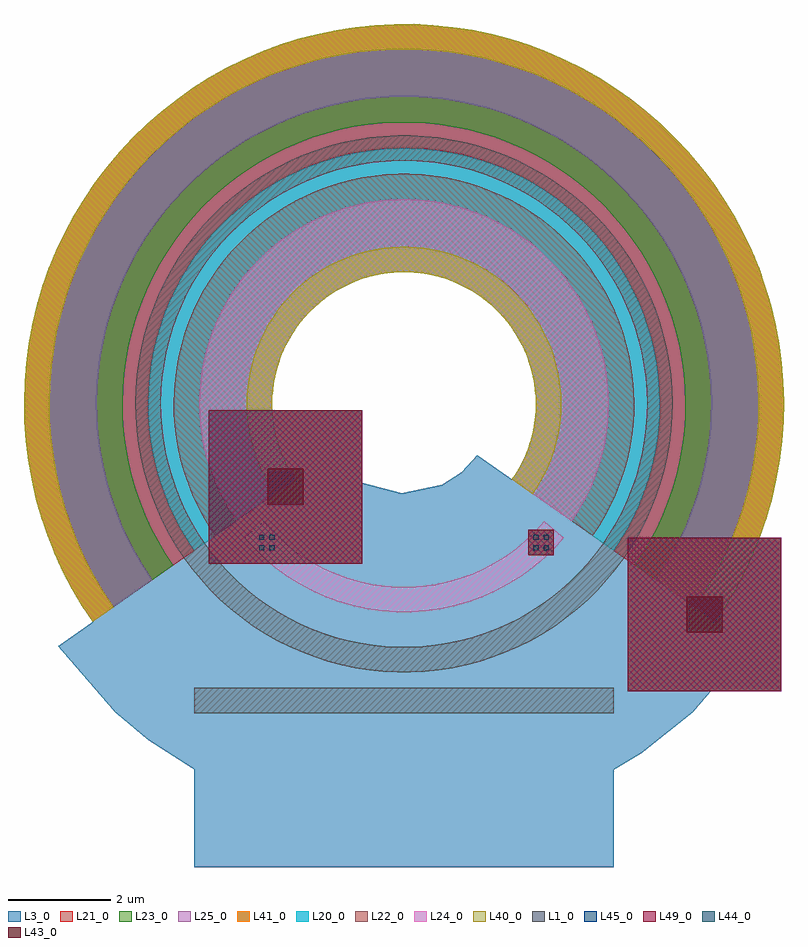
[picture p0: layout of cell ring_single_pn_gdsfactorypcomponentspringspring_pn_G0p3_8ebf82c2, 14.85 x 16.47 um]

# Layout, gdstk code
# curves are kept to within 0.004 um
import gdstk
lib = gdstk.Library(unit=1e-6, precision=1e-09)
def R(c, l, rs):  # rectangles x0, y0, x1, y1
    for r in rs: c.add(gdstk.rectangle(r[:2], r[2:], *l))
def P(c, l, *ps):  # polygons
    for p in ps: c.add(gdstk.Polygon(p, *l))
L1_0 = (1, 0)
L3_0 = (3, 0)
L20_0 = (20, 0)
L21_0 = (21, 0)
L22_0 = (22, 0)
L23_0 = (23, 0)
L24_0 = (24, 0)
L25_0 = (25, 0)
L40_0 = (40, 0)
L41_0 = (41, 0)
L43_0 = (43, 0)
L44_0 = (44, 0)
L45_0 = (45, 0)
L49_0 = (49, 0)

ring_single_pn_gdsfactor = lib.new_cell('ring_single_pn_gdsfactorypcomponentspringspring_pn_G0p3_8ebf82c2')
R(ring_single_pn_gdsfactor, L1_0, [(-4.096,-5.474,4.096,-4.974)])
P(ring_single_pn_gdsfactor, L1_0, [(-3.891,-2.148),(-4.026,-1.945),(-4.15,-1.735),(-4.263,-1.519),(-4.364,-1.298),(-4.455,-1.071),(-4.533,-0.84),(-4.601,-0.607),(-4.655,-0.369),(-4.697,-0.129),(-4.728,0.114),(-4.745,0.357),(-4.75,0.6),(-4.743,0.844),(-4.722,1.087),(-4.69,1.329),(-4.645,1.568),(-4.588,1.806),(-4.519,2.04),(-4.438,2.269),(-4.345,2.495),(-4.241,2.715),(-4.126,2.93),(-3.999,3.139),(-3.863,3.34),(-3.716,3.535),(-3.559,3.722),(-3.393,3.9),(-3.218,4.07),(-3.035,4.23),(-2.843,4.382),(-2.644,4.522),(-2.438,4.653),(-2.225,4.772),(-2.007,4.881),(-1.784,4.978),(-1.556,5.064),(-1.323,5.138),(-1.088,5.199),(-0.849,5.249),(-0.608,5.287),(-0.365,5.312),(-0.122,5.325),(0.121,5.324),(0.366,5.312),(0.608,5.287),(0.849,5.249),(1.087,5.2),(1.324,5.138),(1.555,5.064),(1.784,4.978),(2.008,4.881),(2.226,4.772),(2.438,4.652),(2.644,4.522),(2.843,4.381),(3.035,4.231),(3.218,4.07),(3.393,3.9),(3.56,3.722),(3.716,3.535),(3.863,3.341),(4,3.138),(4.126,2.93),(4.241,2.715),(4.346,2.494),(4.438,2.268),(4.519,2.04),(4.588,1.805),(4.645,1.569),(4.689,1.329),(4.722,1.087),(4.742,0.843),(4.75,0.601),(4.745,0.357),(4.727,0.114),(4.697,-0.128),(4.655,-0.369),(4.6,-0.606),(4.534,-0.841),(4.455,-1.072),(4.365,-1.297),(4.263,-1.519),(4.149,-1.735),(4.025,-1.945),(3.892,-2.149),(4.301,-2.435),(4.449,-2.211),(4.586,-1.978),(4.712,-1.74),(4.825,-1.495),(4.924,-1.245),(5.011,-0.99),(5.085,-0.731),(5.145,-0.468),(5.192,-0.203),(5.225,0.065),(5.245,0.333),(5.25,0.603),(5.242,0.872),(5.22,1.141),(5.183,1.408),(5.134,1.673),(5.071,1.934),(4.995,2.193),(4.906,2.447),(4.803,2.697),(4.688,2.94),(4.56,3.178),(4.421,3.408),(4.27,3.632),(4.107,3.846),(3.934,4.053),(3.75,4.25),(3.557,4.438),(3.354,4.615),(3.142,4.782),(2.922,4.938),(2.695,5.082),(2.46,5.214),(2.219,5.334),(1.972,5.442),(1.72,5.537),(1.463,5.618),(1.202,5.687),(0.938,5.741),(0.672,5.783),(0.404,5.81),(0.135,5.825),(-0.134,5.824),(-0.404,5.811),(-0.672,5.783),(-0.939,5.742),(-1.202,5.687),(-1.462,5.618),(-1.719,5.537),(-1.972,5.442),(-2.218,5.334),(-2.46,5.214),(-2.695,5.082),(-2.922,4.938),(-3.143,4.782),(-3.354,4.615),(-3.557,4.437),(-3.751,4.25),(-3.933,4.053),(-4.108,3.846),(-4.27,3.632),(-4.421,3.408),(-4.56,3.178),(-4.688,2.94),(-4.803,2.697),(-4.905,2.447),(-4.995,2.193),(-5.072,1.935),(-5.134,1.672),(-5.184,1.408),(-5.22,1.141),(-5.242,0.872),(-5.25,0.603),(-5.244,0.333),(-5.225,0.065),(-5.192,-0.203),(-5.146,-0.468),(-5.085,-0.731),(-5.011,-0.99),(-4.924,-1.245),(-4.824,-1.496),(-4.711,-1.74),(-4.586,-1.979),(-4.449,-2.211),(-4.301,-2.435)],
  [(-4.301,-2.435),(-4.139,-2.654),(-3.966,-2.865),(-3.782,-3.066),(-3.587,-3.257),(-3.384,-3.438),(-3.172,-3.608),(-2.951,-3.767),(-2.721,-3.914),(-2.484,-4.049),(-2.241,-4.172),(-1.992,-4.282),(-1.737,-4.379),(-1.478,-4.462),(-1.215,-4.532),(-0.949,-4.588),(-0.679,-4.63),(-0.409,-4.658),(-0.136,-4.672),(0.136,-4.672),(0.408,-4.659),(0.679,-4.63),(0.948,-4.588),(1.215,-4.532),(1.478,-4.461),(1.737,-4.379),(1.993,-4.282),(2.242,-4.172),(2.484,-4.05),(2.722,-3.914),(2.951,-3.767),(3.171,-3.608),(3.384,-3.438),(3.588,-3.258),(3.782,-3.066),(3.966,-2.865),(4.138,-2.655),(4.301,-2.435),(3.892,-2.149),(3.745,-2.347),(3.588,-2.537),(3.421,-2.718),(3.246,-2.891),(3.062,-3.056),(2.869,-3.21),(2.669,-3.353),(2.462,-3.486),(2.248,-3.609),(2.028,-3.72),(1.803,-3.819),(1.572,-3.906),(1.337,-3.982),(1.099,-4.045),(0.858,-4.096),(0.615,-4.134),(0.369,-4.16),(0.123,-4.172),(-0.123,-4.172),(-0.37,-4.159),(-0.614,-4.134),(-0.857,-4.096),(-1.099,-4.045),(-1.337,-3.982),(-1.572,-3.906),(-1.802,-3.819),(-2.028,-3.72),(-2.248,-3.608),(-2.462,-3.487),(-2.669,-3.353),(-2.87,-3.21),(-3.062,-3.056),(-3.246,-2.892),(-3.421,-2.718),(-3.587,-2.537),(-3.745,-2.347),(-3.891,-2.148)])
R(ring_single_pn_gdsfactor, L3_0, [(-4.096,-8.474,4.096,-1.974), (4.377,-5.039,7.377,-2.039), (-3.814,-2.544,-0.814,0.456)])
P(ring_single_pn_gdsfactor, L3_0, [(-2.109,-0.901),(-2.182,-0.791),(-2.31,-0.56),(-2.414,-0.317),(-2.457,-0.192),(-2.523,0.064),(-2.562,0.325),(-2.572,0.457),(-2.57,0.721),(-2.56,0.853),(-2.517,1.113),(-2.487,1.242),(-2.405,1.493),(-2.299,1.735),(-2.236,1.851),(-2.168,1.965),(-2.014,2.18),(-1.929,2.281),(-1.744,2.469),(-1.645,2.557),(-1.433,2.715),(-1.321,2.786),(-1.088,2.909),(-0.967,2.962),(-0.717,3.049),(-0.46,3.109),(-0.33,3.129),(-0.066,3.15),(0.066,3.149),(0.198,3.143),(0.46,3.109),(0.717,3.049),(0.843,3.009),(1.088,2.909),(1.321,2.785),(1.541,2.639),(1.744,2.47),(1.839,2.378),(2.014,2.179),(2.168,1.964),(2.299,1.735),(2.355,1.616),(2.449,1.369),(2.518,1.114),(2.542,0.984),(2.57,0.722),(2.571,0.457),(2.562,0.325),(2.545,0.194),(2.523,0.064),(2.493,-0.065),(2.457,-0.192),(2.366,-0.44),(2.249,-0.676),(2.11,-0.901),(6.082,-3.683),(6.293,-3.365),(6.488,-3.037),(6.664,-2.7),(6.824,-2.354),(6.965,-2),(7.088,-1.639),(7.192,-1.272),(7.277,-0.901),(7.344,-0.525),(7.39,-0.147),(7.418,0.233),(7.426,0.614),(7.414,0.995),(7.383,1.375),(7.332,1.752),(7.261,2.127),(7.173,2.498),(7.064,2.864),(6.938,3.223),(6.793,3.576),(6.63,3.92),(6.45,4.256),(6.253,4.582),(6.039,4.897),(5.809,5.202),(5.564,5.493),(5.305,5.772),(5.031,6.038),(4.744,6.289),(4.444,6.525),(4.133,6.745),(3.812,6.949),(3.48,7.136),(3.138,7.306),(2.789,7.458),(2.433,7.592),(2.069,7.707),(1.7,7.805),(1.327,7.883),(0.95,7.941),(0.572,7.98),(0.19,8),(-0.19,7.999),(-0.571,7.98),(-0.95,7.941),(-1.327,7.882),(-1.7,7.804),(-2.069,7.708),(-2.432,7.592),(-2.789,7.458),(-3.139,7.306),(-3.479,7.137),(-3.812,6.949),(-4.134,6.745),(-4.445,6.524),(-4.744,6.289),(-5.031,6.038),(-5.304,5.773),(-5.564,5.494),(-5.809,5.202),(-6.039,4.898),(-6.253,4.582),(-6.45,4.256),(-6.63,3.92),(-6.793,3.575),(-6.938,3.223),(-7.065,2.864),(-7.172,2.498),(-7.262,2.127),(-7.332,1.752),(-7.382,1.375),(-7.414,0.995),(-7.426,0.614),(-7.418,0.233),(-7.391,-0.147),(-7.343,-0.525),(-7.277,-0.9),(-7.192,-1.273),(-7.087,-1.639),(-6.965,-2),(-6.824,-2.354),(-6.664,-2.7),(-6.488,-3.038),(-6.293,-3.366),(-6.082,-3.683)],
  [(-6.758,-4.156),(-5.639,-5.448),(-4.984,-6),(-3.905,-6.693),(-3.13,-7.058),(-1.909,-7.451),(-0.642,-7.65),(0.214,-7.672),(1.491,-7.54),(2.323,-7.341),(3.904,-6.693),(4.636,-6.249),(5.639,-5.448),(6.758,-4.155),(1.434,-0.427),(1.128,-0.761),(0.746,-1.006),(-0.045,-1.172),(-0.828,-0.965),(-1.434,-0.428)])
P(ring_single_pn_gdsfactor, L20_0, [(-2.109,-0.901),(-2.182,-0.791),(-2.31,-0.56),(-2.414,-0.317),(-2.457,-0.192),(-2.523,0.064),(-2.562,0.325),(-2.572,0.457),(-2.574,0.589),(-2.56,0.853),(-2.542,0.984),(-2.487,1.242),(-2.449,1.369),(-2.355,1.615),(-2.299,1.735),(-2.168,1.965),(-2.014,2.18),(-1.929,2.281),(-1.839,2.377),(-1.645,2.557),(-1.433,2.715),(-1.321,2.786),(-1.207,2.85),(-0.967,2.962),(-0.717,3.049),(-0.589,3.082),(-0.46,3.109),(-0.198,3.143),(-0.066,3.15),(0.198,3.143),(0.46,3.109),(0.589,3.082),(0.843,3.009),(1.088,2.909),(1.206,2.85),(1.321,2.785),(1.541,2.639),(1.744,2.47),(1.929,2.281),(2.094,2.074),(2.168,1.964),(2.299,1.735),(2.405,1.493),(2.486,1.243),(2.518,1.114),(2.542,0.984),(2.57,0.722),(2.574,0.589),(2.562,0.325),(2.523,0.064),(2.457,-0.192),(2.415,-0.316),(2.366,-0.44),(2.31,-0.559),(2.182,-0.791),(2.11,-0.901),(4.095,-2.292),(4.238,-2.078),(4.368,-1.856),(4.488,-1.63),(4.594,-1.397),(4.69,-1.158),(4.772,-0.915),(4.843,-0.668),(4.9,-0.418),(4.945,-0.166),(4.976,0.089),(4.995,0.345),(5,0.601),(4.992,0.858),(4.972,1.114),(4.937,1.368),(4.89,1.621),(4.829,1.87),(4.757,2.116),(4.672,2.358),(4.574,2.596),(4.464,2.828),(4.343,3.054),(4.21,3.274),(4.067,3.486),(3.912,3.691),(3.747,3.887),(3.572,4.076),(3.387,4.254),(3.194,4.423),(2.993,4.582),(2.783,4.729),(2.567,4.867),(2.343,4.994),(2.113,5.107),(1.878,5.21),(1.637,5.3),(1.392,5.378),(1.145,5.443),(0.894,5.495),(0.64,5.535),(0.384,5.561),(0.128,5.574),(-0.128,5.574),(-0.385,5.561),(-0.64,5.535),(-0.893,5.495),(-1.145,5.444),(-1.393,5.378),(-1.638,5.3),(-1.878,5.21),(-2.113,5.107),(-2.343,4.993),(-2.566,4.867),(-2.783,4.73),(-2.993,4.582),(-3.194,4.423),(-3.387,4.254),(-3.572,4.075),(-3.747,3.887),(-3.912,3.691),(-4.066,3.486),(-4.21,3.273),(-4.343,3.054),(-4.464,2.828),(-4.574,2.596),(-4.671,2.358),(-4.757,2.116),(-4.83,1.87),(-4.889,1.62),(-4.937,1.368),(-4.971,1.114),(-4.991,0.858),(-5,0.602),(-4.995,0.345),(-4.976,0.089),(-4.945,-0.165),(-4.9,-0.418),(-4.843,-0.669),(-4.773,-0.915),(-4.689,-1.158),(-4.594,-1.397),(-4.487,-1.63),(-4.368,-1.858),(-4.237,-2.077),(-4.096,-2.292)])
P(ring_single_pn_gdsfactor, L21_0, [(-4.096,-2.292),(-4.237,-2.077),(-4.368,-1.858),(-4.487,-1.63),(-4.594,-1.397),(-4.689,-1.158),(-4.773,-0.915),(-4.843,-0.669),(-4.9,-0.418),(-4.945,-0.165),(-4.976,0.089),(-4.995,0.345),(-5,0.602),(-4.991,0.858),(-4.971,1.114),(-4.937,1.368),(-4.889,1.62),(-4.83,1.87),(-4.757,2.116),(-4.671,2.358),(-4.574,2.596),(-4.464,2.828),(-4.343,3.054),(-4.21,3.273),(-4.066,3.486),(-3.912,3.691),(-3.747,3.887),(-3.572,4.075),(-3.387,4.254),(-3.194,4.423),(-2.993,4.582),(-2.783,4.73),(-2.566,4.867),(-2.343,4.993),(-2.113,5.107),(-1.878,5.21),(-1.638,5.3),(-1.393,5.378),(-1.145,5.444),(-0.893,5.495),(-0.64,5.535),(-0.385,5.561),(-0.128,5.574),(0.128,5.574),(0.384,5.561),(0.64,5.535),(0.894,5.495),(1.145,5.443),(1.392,5.378),(1.637,5.3),(1.878,5.21),(2.113,5.107),(2.343,4.994),(2.567,4.867),(2.783,4.729),(2.993,4.582),(3.194,4.423),(3.387,4.254),(3.572,4.076),(3.747,3.887),(3.912,3.691),(4.067,3.486),(4.21,3.274),(4.343,3.054),(4.464,2.828),(4.574,2.596),(4.672,2.358),(4.757,2.116),(4.829,1.87),(4.89,1.621),(4.937,1.368),(4.972,1.114),(4.992,0.858),(5,0.601),(4.995,0.345),(4.976,0.089),(4.945,-0.166),(4.9,-0.418),(4.843,-0.668),(4.772,-0.915),(4.69,-1.158),(4.594,-1.397),(4.488,-1.63),(4.368,-1.856),(4.238,-2.078),(4.095,-2.292),(6.082,-3.683),(6.293,-3.365),(6.488,-3.037),(6.664,-2.7),(6.824,-2.354),(6.965,-2),(7.088,-1.639),(7.192,-1.272),(7.277,-0.901),(7.344,-0.525),(7.39,-0.147),(7.418,0.233),(7.426,0.614),(7.414,0.995),(7.383,1.375),(7.332,1.752),(7.261,2.127),(7.173,2.498),(7.064,2.864),(6.938,3.223),(6.793,3.576),(6.63,3.92),(6.45,4.256),(6.253,4.582),(6.039,4.897),(5.809,5.202),(5.564,5.493),(5.305,5.772),(5.031,6.038),(4.744,6.289),(4.444,6.525),(4.133,6.745),(3.812,6.949),(3.48,7.136),(3.138,7.306),(2.789,7.458),(2.433,7.592),(2.069,7.707),(1.7,7.805),(1.327,7.883),(0.95,7.941),(0.572,7.98),(0.19,8),(-0.19,7.999),(-0.571,7.98),(-0.95,7.941),(-1.327,7.882),(-1.7,7.804),(-2.069,7.708),(-2.432,7.592),(-2.789,7.458),(-3.139,7.306),(-3.479,7.137),(-3.812,6.949),(-4.134,6.745),(-4.445,6.524),(-4.744,6.289),(-5.031,6.038),(-5.304,5.773),(-5.564,5.494),(-5.809,5.202),(-6.039,4.898),(-6.253,4.582),(-6.45,4.256),(-6.63,3.92),(-6.793,3.575),(-6.938,3.223),(-7.065,2.864),(-7.172,2.498),(-7.262,2.127),(-7.332,1.752),(-7.382,1.375),(-7.414,0.995),(-7.426,0.614),(-7.418,0.233),(-7.391,-0.147),(-7.343,-0.525),(-7.277,-0.9),(-7.192,-1.273),(-7.087,-1.639),(-6.965,-2),(-6.824,-2.354),(-6.664,-2.7),(-6.488,-3.038),(-6.293,-3.366),(-6.082,-3.683)])
P(ring_single_pn_gdsfactor, L22_0, [(-2.109,-0.901),(-2.182,-0.791),(-2.31,-0.56),(-2.414,-0.317),(-2.457,-0.192),(-2.523,0.064),(-2.562,0.325),(-2.572,0.457),(-2.574,0.589),(-2.56,0.853),(-2.542,0.984),(-2.487,1.242),(-2.449,1.369),(-2.355,1.615),(-2.299,1.735),(-2.168,1.965),(-2.014,2.18),(-1.929,2.281),(-1.839,2.377),(-1.645,2.557),(-1.433,2.715),(-1.321,2.786),(-1.207,2.85),(-0.967,2.962),(-0.717,3.049),(-0.589,3.082),(-0.46,3.109),(-0.198,3.143),(-0.066,3.15),(0.198,3.143),(0.46,3.109),(0.717,3.049),(0.966,2.962),(1.206,2.85),(1.433,2.714),(1.541,2.639),(1.644,2.556),(1.839,2.378),(2.014,2.179),(2.168,1.964),(2.299,1.735),(2.355,1.616),(2.449,1.369),(2.518,1.114),(2.542,0.984),(2.57,0.722),(2.574,0.589),(2.562,0.325),(2.545,0.194),(2.523,0.064),(2.457,-0.192),(2.366,-0.44),(2.31,-0.559),(2.182,-0.791),(2.11,-0.901),(3.686,-2.005),(3.814,-1.813),(3.931,-1.613),(4.038,-1.409),(4.135,-1.199),(4.22,-0.985),(4.295,-0.766),(4.358,-0.544),(4.41,-0.319),(4.45,-0.092),(4.478,0.137),(4.495,0.369),(4.5,0.599),(4.493,0.83),(4.473,1.06),(4.442,1.289),(4.401,1.516),(4.346,1.74),(4.281,1.962),(4.205,2.18),(4.116,2.393),(4.018,2.602),(3.909,2.806),(3.789,3.003),(3.66,3.195),(3.52,3.379),(3.372,3.556),(3.214,3.725),(3.049,3.886),(2.874,4.038),(2.693,4.181),(2.505,4.315),(2.309,4.438),(2.108,4.551),(1.902,4.654),(1.69,4.746),(1.474,4.827),(1.254,4.898),(1.03,4.956),(0.804,5.003),(0.577,5.039),(0.346,5.063),(0.115,5.075),(-0.115,5.075),(-0.346,5.063),(-0.576,5.039),(-0.804,5.004),(-1.03,4.957),(-1.253,4.898),(-1.474,4.827),(-1.69,4.747),(-1.902,4.654),(-2.109,4.552),(-2.31,4.438),(-2.505,4.314),(-2.694,4.181),(-2.875,4.038),(-3.049,3.886),(-3.214,3.725),(-3.372,3.556),(-3.52,3.379),(-3.66,3.194),(-3.789,3.004),(-3.909,2.805),(-4.018,2.602),(-4.116,2.394),(-4.204,2.18),(-4.281,1.962),(-4.346,1.741),(-4.4,1.516),(-4.442,1.289),(-4.474,1.06),(-4.493,0.83),(-4.5,0.599),(-4.495,0.368),(-4.479,0.138),(-4.45,-0.091),(-4.41,-0.319),(-4.358,-0.544),(-4.295,-0.766),(-4.22,-0.985),(-4.134,-1.199),(-4.039,-1.409),(-3.931,-1.614),(-3.814,-1.812),(-3.686,-2.005)])
P(ring_single_pn_gdsfactor, L23_0, [(-4.505,-2.579),(-4.661,-2.344),(-4.805,-2.1),(-4.936,-1.85),(-5.054,-1.594),(-5.159,-1.332),(-5.249,-1.065),(-5.327,-0.793),(-5.391,-0.518),(-5.44,-0.24),(-5.474,0.041),(-5.494,0.322),(-5.5,0.604),(-5.491,0.887),(-5.468,1.168),(-5.431,1.447),(-5.379,1.725),(-5.312,1.999),(-5.233,2.27),(-5.139,2.537),(-5.031,2.798),(-4.911,3.053),(-4.777,3.302),(-4.631,3.543),(-4.473,3.777),(-4.302,4.002),(-4.122,4.219),(-3.929,4.425),(-3.726,4.621),(-3.514,4.808),(-3.292,4.983),(-3.062,5.145),(-2.823,5.296),(-2.577,5.435),(-2.325,5.561),(-2.065,5.673),(-1.801,5.773),(-1.532,5.859),(-1.26,5.93),(-0.983,5.988),(-0.704,6.031),(-0.423,6.06),(-0.141,6.074),(0.141,6.074),(0.423,6.06),(0.703,6.031),(0.983,5.987),(1.259,5.93),(1.532,5.858),(1.801,5.773),(2.066,5.674),(2.324,5.561),(2.577,5.435),(2.823,5.296),(3.062,5.146),(3.292,4.982),(3.513,4.807),(3.726,4.622),(3.929,4.425),(4.121,4.218),(4.303,4.003),(4.473,3.777),(4.632,3.543),(4.777,3.302),(4.911,3.052),(5.032,2.798),(5.139,2.536),(5.232,2.271),(5.312,1.999),(5.379,1.725),(5.43,1.447),(5.469,1.168),(5.491,0.887),(5.501,0.604),(5.494,0.322),(5.474,0.04),(5.439,-0.24),(5.39,-0.518),(5.328,-0.793),(5.249,-1.065),(5.159,-1.332),(5.053,-1.594),(4.936,-1.85),(4.805,-2.1),(4.661,-2.343),(4.505,-2.578),(6.082,-3.683),(6.293,-3.365),(6.488,-3.037),(6.664,-2.7),(6.824,-2.354),(6.965,-2),(7.088,-1.639),(7.192,-1.272),(7.277,-0.901),(7.344,-0.525),(7.39,-0.147),(7.418,0.233),(7.426,0.614),(7.414,0.995),(7.383,1.375),(7.332,1.752),(7.261,2.127),(7.173,2.498),(7.064,2.864),(6.938,3.223),(6.793,3.576),(6.63,3.92),(6.45,4.256),(6.253,4.582),(6.039,4.897),(5.809,5.202),(5.564,5.493),(5.305,5.772),(5.031,6.038),(4.744,6.289),(4.444,6.525),(4.133,6.745),(3.812,6.949),(3.48,7.136),(3.138,7.306),(2.789,7.458),(2.433,7.592),(2.069,7.707),(1.7,7.805),(1.327,7.883),(0.95,7.941),(0.572,7.98),(0.19,8),(-0.19,7.999),(-0.571,7.98),(-0.95,7.941),(-1.327,7.882),(-1.7,7.804),(-2.069,7.708),(-2.432,7.592),(-2.789,7.458),(-3.139,7.306),(-3.479,7.137),(-3.812,6.949),(-4.134,6.745),(-4.445,6.524),(-4.744,6.289),(-5.031,6.038),(-5.304,5.773),(-5.564,5.494),(-5.809,5.202),(-6.039,4.898),(-6.253,4.582),(-6.45,4.256),(-6.63,3.92),(-6.793,3.575),(-6.938,3.223),(-7.065,2.864),(-7.172,2.498),(-7.262,2.127),(-7.332,1.752),(-7.382,1.375),(-7.414,0.995),(-7.426,0.614),(-7.418,0.233),(-7.391,-0.147),(-7.343,-0.525),(-7.277,-0.9),(-7.192,-1.273),(-7.087,-1.639),(-6.965,-2),(-6.824,-2.354),(-6.664,-2.7),(-6.488,-3.038),(-6.293,-3.366),(-6.082,-3.683)])
P(ring_single_pn_gdsfactor, L24_0, [(-2.109,-0.901),(-2.182,-0.791),(-2.31,-0.56),(-2.414,-0.317),(-2.457,-0.192),(-2.523,0.064),(-2.562,0.325),(-2.572,0.457),(-2.574,0.589),(-2.56,0.853),(-2.542,0.984),(-2.487,1.242),(-2.449,1.369),(-2.355,1.615),(-2.299,1.735),(-2.168,1.965),(-2.014,2.18),(-1.929,2.281),(-1.839,2.377),(-1.645,2.557),(-1.433,2.715),(-1.321,2.786),(-1.088,2.909),(-0.967,2.962),(-0.717,3.049),(-0.46,3.109),(-0.198,3.143),(-0.066,3.15),(0.198,3.143),(0.329,3.129),(0.589,3.082),(0.843,3.009),(1.088,2.909),(1.321,2.785),(1.541,2.639),(1.744,2.47),(1.839,2.378),(2.014,2.179),(2.168,1.964),(2.299,1.735),(2.355,1.616),(2.449,1.369),(2.518,1.114),(2.542,0.984),(2.57,0.722),(2.574,0.589),(2.562,0.325),(2.545,0.194),(2.523,0.064),(2.457,-0.192),(2.366,-0.44),(2.31,-0.559),(2.182,-0.791),(2.11,-0.901),(3.277,-1.719),(3.39,-1.547),(3.494,-1.37),(3.589,-1.188),(3.676,-1.002),(3.751,-0.811),(3.818,-0.617),(3.873,-0.419),(3.92,-0.219),(3.956,-0.017),(3.996,0.391),(3.999,0.597),(3.994,0.802),(3.976,1.006),(3.949,1.209),(3.911,1.411),(3.863,1.611),(3.805,1.808),(3.737,2.001),(3.659,2.192),(3.571,2.377),(3.474,2.558),(3.367,2.734),(3.252,2.903),(3.129,3.067),(2.997,3.225),(2.857,3.375),(2.709,3.518),(2.555,3.653),(2.394,3.781),(2.227,3.899),(2.054,4.009),(1.874,4.109),(1.69,4.201),(1.502,4.283),(1.31,4.355),(1.115,4.417),(0.916,4.469),(0.715,4.512),(0.512,4.543),(0.307,4.563),(0.103,4.574),(-0.103,4.574),(-0.308,4.564),(-0.512,4.543),(-0.715,4.512),(-0.916,4.47),(-1.114,4.418),(-1.31,4.355),(-1.502,4.283),(-1.69,4.201),(-1.874,4.109),(-2.053,4.008),(-2.227,3.899),(-2.394,3.78),(-2.555,3.653),(-2.709,3.518),(-2.857,3.375),(-2.997,3.225),(-3.129,3.068),(-3.252,2.904),(-3.368,2.734),(-3.474,2.558),(-3.571,2.377),(-3.659,2.191),(-3.736,2.002),(-3.805,1.808),(-3.863,1.611),(-3.912,1.411),(-3.949,1.21),(-3.976,1.006),(-3.993,0.801),(-4,0.596),(-3.995,0.391),(-3.98,0.186),(-3.955,-0.017),(-3.92,-0.219),(-3.873,-0.42),(-3.818,-0.616),(-3.751,-0.812),(-3.676,-1.002),(-3.589,-1.188),(-3.495,-1.37),(-3.389,-1.547),(-3.277,-1.718)],
  [(-3.122,-2.043),(-2.931,-2.254),(-2.727,-2.452),(-2.509,-2.635),(-2.279,-2.802),(-2.037,-2.953),(-1.786,-3.087),(-1.527,-3.202),(-1.259,-3.3),(-0.986,-3.378),(-0.708,-3.437),(-0.426,-3.477),(-0.143,-3.496),(0.142,-3.497),(0.426,-3.477),(0.707,-3.437),(0.986,-3.378),(1.259,-3.3),(1.527,-3.202),(1.786,-3.087),(2.037,-2.953),(2.279,-2.803),(2.509,-2.635),(2.727,-2.453),(2.932,-2.255),(3.122,-2.043),(2.739,-1.722),(2.572,-1.907),(2.392,-2.081),(2.201,-2.241),(1.999,-2.388),(1.788,-2.52),(1.567,-2.637),(1.339,-2.739),(1.105,-2.824),(0.865,-2.893),(0.621,-2.944),(0.374,-2.979),(0.125,-2.997),(-0.124,-2.997),(-0.374,-2.979),(-0.62,-2.944),(-0.865,-2.892),(-1.105,-2.824),(-1.339,-2.738),(-1.567,-2.637),(-1.787,-2.52),(-1.999,-2.387),(-2.201,-2.241),(-2.392,-2.081),(-2.572,-1.907),(-2.739,-1.722)])
P(ring_single_pn_gdsfactor, L25_0, [(-4.915,-2.865),(-5.085,-2.609),(-5.242,-2.344),(-5.384,-2.071),(-5.513,-1.791),(-5.628,-1.505),(-5.727,-1.214),(-5.811,-0.917),(-5.88,-0.617),(-5.934,-0.313),(-5.972,-0.008),(-5.994,0.299),(-6,0.607),(-5.991,0.915),(-5.965,1.221),(-5.925,1.527),(-5.868,1.83),(-5.796,2.129),(-5.708,2.424),(-5.607,2.715),(-5.489,3),(-5.357,3.278),(-5.212,3.549),(-5.052,3.813),(-4.879,4.068),(-4.694,4.314),(-4.496,4.55),(-4.286,4.775),(-4.065,4.99),(-3.833,5.192),(-3.591,5.382),(-3.34,5.561),(-3.08,5.726),(-2.812,5.877),(-2.536,6.014),(-2.253,6.137),(-1.965,6.245),(-1.671,6.338),(-1.374,6.417),(-1.072,6.48),(-0.768,6.527),(-0.462,6.558),(-0.154,6.574),(0.154,6.574),(0.462,6.559),(0.768,6.527),(1.073,6.48),(1.374,6.417),(1.672,6.339),(1.965,6.246),(2.254,6.137),(2.536,6.014),(2.812,5.877),(3.08,5.726),(3.34,5.561),(3.591,5.383),(3.833,5.193),(4.065,4.99),(4.287,4.775),(4.496,4.549),(4.694,4.313),(4.879,4.068),(5.052,3.813),(5.212,3.549),(5.357,3.278),(5.489,3),(5.606,2.714),(5.708,2.424),(5.795,2.129),(5.868,1.83),(5.924,1.527),(5.966,1.221),(5.991,0.915),(6,0.607),(5.994,0.299),(5.972,-0.008),(5.934,-0.314),(5.881,-0.617),(5.812,-0.918),(5.727,-1.214),(5.628,-1.506),(5.514,-1.791),(5.385,-2.071),(5.242,-2.344),(5.086,-2.609),(4.915,-2.865),(6.082,-3.683),(6.293,-3.365),(6.488,-3.037),(6.664,-2.7),(6.824,-2.354),(6.965,-2),(7.088,-1.639),(7.192,-1.272),(7.277,-0.901),(7.344,-0.525),(7.39,-0.147),(7.418,0.233),(7.426,0.614),(7.414,0.995),(7.383,1.375),(7.332,1.752),(7.261,2.127),(7.173,2.498),(7.064,2.864),(6.938,3.223),(6.793,3.576),(6.63,3.92),(6.45,4.256),(6.253,4.582),(6.039,4.897),(5.809,5.202),(5.564,5.493),(5.305,5.772),(5.031,6.038),(4.744,6.289),(4.444,6.525),(4.133,6.745),(3.812,6.949),(3.48,7.136),(3.138,7.306),(2.789,7.458),(2.433,7.592),(2.069,7.707),(1.7,7.805),(1.327,7.883),(0.95,7.941),(0.572,7.98),(0.19,8),(-0.19,7.999),(-0.571,7.98),(-0.95,7.941),(-1.327,7.882),(-1.7,7.804),(-2.069,7.708),(-2.432,7.592),(-2.789,7.458),(-3.139,7.306),(-3.479,7.137),(-3.812,6.949),(-4.134,6.745),(-4.445,6.524),(-4.744,6.289),(-5.031,6.038),(-5.304,5.773),(-5.564,5.494),(-5.809,5.202),(-6.039,4.898),(-6.253,4.582),(-6.45,4.256),(-6.63,3.92),(-6.793,3.575),(-6.938,3.223),(-7.065,2.864),(-7.172,2.498),(-7.262,2.127),(-7.332,1.752),(-7.382,1.375),(-7.414,0.995),(-7.426,0.614),(-7.418,0.233),(-7.391,-0.147),(-7.343,-0.525),(-7.277,-0.9),(-7.192,-1.273),(-7.087,-1.639),(-6.965,-2),(-6.824,-2.354),(-6.664,-2.7),(-6.488,-3.038),(-6.293,-3.366),(-6.082,-3.683)])
R(ring_single_pn_gdsfactor, L40_0, [(5.527,-3.889,6.227,-3.189), (-2.83,-2.283,-2.73,-2.183), (-2.63,-2.283,-2.53,-2.183), (2.53,-2.283,2.63,-2.183), (2.73,-2.283,2.83,-2.183), (-2.83,-2.083,-2.73,-1.983), (-2.63,-2.083,-2.53,-1.983), (2.53,-2.083,2.63,-1.983), (2.73,-2.083,2.83,-1.983), (-2.664,-1.394,-1.964,-0.694)])
P(ring_single_pn_gdsfactor, L40_0, [(-2.109,-0.901),(-2.182,-0.791),(-2.31,-0.56),(-2.414,-0.317),(-2.457,-0.192),(-2.523,0.064),(-2.562,0.325),(-2.572,0.457),(-2.574,0.589),(-2.56,0.853),(-2.542,0.984),(-2.487,1.242),(-2.449,1.369),(-2.355,1.615),(-2.299,1.735),(-2.236,1.851),(-2.168,1.965),(-2.014,2.18),(-1.839,2.377),(-1.645,2.557),(-1.541,2.638),(-1.433,2.715),(-1.207,2.85),(-0.967,2.962),(-0.843,3.008),(-0.717,3.049),(-0.46,3.109),(-0.198,3.143),(-0.066,3.15),(0.198,3.143),(0.46,3.109),(0.717,3.049),(0.843,3.009),(1.088,2.909),(1.206,2.85),(1.433,2.714),(1.541,2.639),(1.744,2.47),(1.929,2.281),(2.094,2.074),(2.168,1.964),(2.299,1.735),(2.355,1.616),(2.449,1.369),(2.518,1.114),(2.542,0.984),(2.57,0.722),(2.574,0.589),(2.562,0.325),(2.523,0.064),(2.457,-0.192),(2.415,-0.316),(2.366,-0.44),(2.31,-0.559),(2.182,-0.791),(2.11,-0.901),(2.519,-1.188),(2.686,-0.92),(2.759,-0.78),(2.825,-0.637),(2.934,-0.341),(2.978,-0.19),(3.013,-0.036),(3.04,0.12),(3.06,0.277),(3.071,0.434),(3.074,0.592),(3.069,0.75),(3.036,1.063),(2.969,1.372),(2.925,1.523),(2.873,1.672),(2.745,1.961),(2.589,2.235),(2.5,2.365),(2.406,2.491),(2.196,2.728),(1.964,2.941),(1.711,3.131),(1.44,3.292),(1.299,3.362),(1.154,3.425),(1.007,3.481),(0.857,3.528),(0.704,3.569),(0.549,3.601),(0.237,3.641),(-0.079,3.649),(-0.237,3.641),(-0.393,3.625),(-0.549,3.601),(-0.704,3.569),(-0.857,3.529),(-1.007,3.481),(-1.299,3.363),(-1.44,3.292),(-1.712,3.13),(-1.964,2.941),(-2.083,2.837),(-2.196,2.727),(-2.405,2.491),(-2.501,2.365),(-2.671,2.1),(-2.813,1.817),(-2.925,1.523),(-3.006,1.219),(-3.056,0.907),(-3.07,0.75),(-3.071,0.434),(-3.06,0.277),(-3.013,-0.036),(-2.935,-0.341),(-2.884,-0.491),(-2.825,-0.637),(-2.686,-0.92),(-2.519,-1.188)],
  [(-5.673,-3.396),(-5.87,-3.101),(-6.05,-2.794),(-6.215,-2.48),(-6.364,-2.156),(-6.496,-1.826),(-6.611,-1.489),(-6.707,-1.148),(-6.788,-0.801),(-6.849,-0.451),(-6.893,-0.098),(-6.919,0.256),(-6.926,0.611),(-6.915,0.967),(-6.886,1.321),(-6.838,1.673),(-6.773,2.023),(-6.69,2.368),(-6.589,2.709),(-6.471,3.045),(-6.335,3.373),(-6.184,3.695),(-6.016,4.008),(-5.831,4.312),(-5.632,4.606),(-5.418,4.889),(-5.189,5.162),(-4.948,5.423),(-4.692,5.67),(-4.424,5.904),(-4.145,6.124),(-3.855,6.329),(-3.555,6.52),(-3.245,6.694),(-2.926,6.853),(-2.601,6.995),(-2.268,7.119),(-1.929,7.227),(-1.586,7.318),(-1.237,7.391),(-0.886,7.445),(-0.533,7.481),(-0.178,7.499),(0.178,7.499),(0.533,7.481),(0.887,7.445),(1.237,7.39),(1.586,7.318),(1.93,7.228),(2.268,7.119),(2.601,6.995),(2.927,6.853),(3.245,6.695),(3.555,6.52),(3.855,6.33),(4.145,6.124),(4.424,5.904),(4.692,5.67),(4.947,5.423),(5.19,5.162),(5.418,4.89),(5.632,4.606),(5.831,4.313),(6.015,4.008),(6.183,3.695),(6.335,3.374),(6.47,3.045),(6.589,2.709),(6.69,2.368),(6.773,2.023),(6.838,1.674),(6.886,1.321),(6.914,0.967),(6.925,0.611),(6.918,0.256),(6.892,-0.099),(6.849,-0.451),(6.787,-0.801),(6.708,-1.147),(6.611,-1.49),(6.495,-1.826),(6.364,-2.156),(6.216,-2.479),(6.05,-2.794),(5.87,-3.1),(5.672,-3.396),(6.082,-3.683),(6.293,-3.365),(6.488,-3.037),(6.664,-2.7),(6.824,-2.354),(6.965,-2),(7.088,-1.639),(7.192,-1.272),(7.277,-0.901),(7.344,-0.525),(7.39,-0.147),(7.418,0.233),(7.426,0.614),(7.414,0.995),(7.383,1.375),(7.332,1.752),(7.261,2.127),(7.173,2.498),(7.064,2.864),(6.938,3.223),(6.793,3.576),(6.63,3.92),(6.45,4.256),(6.253,4.582),(6.039,4.897),(5.809,5.202),(5.564,5.493),(5.305,5.772),(5.031,6.038),(4.744,6.289),(4.444,6.525),(4.133,6.745),(3.812,6.949),(3.48,7.136),(3.138,7.306),(2.789,7.458),(2.433,7.592),(2.069,7.707),(1.7,7.805),(1.327,7.883),(0.95,7.941),(0.572,7.98),(0.19,8),(-0.19,7.999),(-0.571,7.98),(-0.95,7.941),(-1.327,7.882),(-1.7,7.804),(-2.069,7.708),(-2.432,7.592),(-2.789,7.458),(-3.139,7.306),(-3.479,7.137),(-3.812,6.949),(-4.134,6.745),(-4.445,6.524),(-4.744,6.289),(-5.031,6.038),(-5.304,5.773),(-5.564,5.494),(-5.809,5.202),(-6.039,4.898),(-6.253,4.582),(-6.45,4.256),(-6.63,3.92),(-6.793,3.575),(-6.938,3.223),(-7.065,2.864),(-7.172,2.498),(-7.262,2.127),(-7.332,1.752),(-7.382,1.375),(-7.414,0.995),(-7.426,0.614),(-7.418,0.233),(-7.391,-0.147),(-7.343,-0.525),(-7.277,-0.9),(-7.192,-1.273),(-7.087,-1.639),(-6.965,-2),(-6.824,-2.354),(-6.664,-2.7),(-6.488,-3.038),(-6.293,-3.366),(-6.082,-3.683)])
R(ring_single_pn_gdsfactor, L41_0, [(4.377,-5.039,7.377,-2.039), (-3.814,-2.544,-0.814,0.456), (-2.93,-2.383,-2.43,-1.883), (2.43,-2.383,2.93,-1.883)])
P(ring_single_pn_gdsfactor, L41_0, [(-2.109,-0.901),(-2.182,-0.791),(-2.31,-0.56),(-2.414,-0.317),(-2.457,-0.192),(-2.523,0.064),(-2.562,0.325),(-2.572,0.457),(-2.574,0.589),(-2.56,0.853),(-2.542,0.984),(-2.487,1.242),(-2.449,1.369),(-2.355,1.615),(-2.299,1.735),(-2.236,1.851),(-2.168,1.965),(-2.014,2.18),(-1.839,2.377),(-1.645,2.557),(-1.541,2.638),(-1.433,2.715),(-1.207,2.85),(-0.967,2.962),(-0.843,3.008),(-0.717,3.049),(-0.46,3.109),(-0.198,3.143),(-0.066,3.15),(0.198,3.143),(0.46,3.109),(0.717,3.049),(0.843,3.009),(1.088,2.909),(1.206,2.85),(1.433,2.714),(1.541,2.639),(1.744,2.47),(1.929,2.281),(2.094,2.074),(2.168,1.964),(2.299,1.735),(2.355,1.616),(2.449,1.369),(2.518,1.114),(2.542,0.984),(2.57,0.722),(2.574,0.589),(2.562,0.325),(2.523,0.064),(2.457,-0.192),(2.415,-0.316),(2.366,-0.44),(2.31,-0.559),(2.182,-0.791),(2.11,-0.901),(2.519,-1.188),(2.686,-0.92),(2.759,-0.78),(2.825,-0.637),(2.934,-0.341),(2.978,-0.19),(3.013,-0.036),(3.04,0.12),(3.06,0.277),(3.071,0.434),(3.074,0.592),(3.069,0.75),(3.036,1.063),(2.969,1.372),(2.925,1.523),(2.873,1.672),(2.745,1.961),(2.589,2.235),(2.5,2.365),(2.406,2.491),(2.196,2.728),(1.964,2.941),(1.711,3.131),(1.44,3.292),(1.299,3.362),(1.154,3.425),(1.007,3.481),(0.857,3.528),(0.704,3.569),(0.549,3.601),(0.237,3.641),(-0.079,3.649),(-0.237,3.641),(-0.393,3.625),(-0.549,3.601),(-0.704,3.569),(-0.857,3.529),(-1.007,3.481),(-1.299,3.363),(-1.44,3.292),(-1.712,3.13),(-1.964,2.941),(-2.083,2.837),(-2.196,2.727),(-2.405,2.491),(-2.501,2.365),(-2.671,2.1),(-2.813,1.817),(-2.925,1.523),(-3.006,1.219),(-3.056,0.907),(-3.07,0.75),(-3.071,0.434),(-3.06,0.277),(-3.013,-0.036),(-2.935,-0.341),(-2.884,-0.491),(-2.825,-0.637),(-2.686,-0.92),(-2.519,-1.188)],
  [(-5.673,-3.396),(-5.87,-3.101),(-6.05,-2.794),(-6.215,-2.48),(-6.364,-2.156),(-6.496,-1.826),(-6.611,-1.489),(-6.707,-1.148),(-6.788,-0.801),(-6.849,-0.451),(-6.893,-0.098),(-6.919,0.256),(-6.926,0.611),(-6.915,0.967),(-6.886,1.321),(-6.838,1.673),(-6.773,2.023),(-6.69,2.368),(-6.589,2.709),(-6.471,3.045),(-6.335,3.373),(-6.184,3.695),(-6.016,4.008),(-5.831,4.312),(-5.632,4.606),(-5.418,4.889),(-5.189,5.162),(-4.948,5.423),(-4.692,5.67),(-4.424,5.904),(-4.145,6.124),(-3.855,6.329),(-3.555,6.52),(-3.245,6.694),(-2.926,6.853),(-2.601,6.995),(-2.268,7.119),(-1.929,7.227),(-1.586,7.318),(-1.237,7.391),(-0.886,7.445),(-0.533,7.481),(-0.178,7.499),(0.178,7.499),(0.533,7.481),(0.887,7.445),(1.237,7.39),(1.586,7.318),(1.93,7.228),(2.268,7.119),(2.601,6.995),(2.927,6.853),(3.245,6.695),(3.555,6.52),(3.855,6.33),(4.145,6.124),(4.424,5.904),(4.692,5.67),(4.947,5.423),(5.19,5.162),(5.418,4.89),(5.632,4.606),(5.831,4.313),(6.015,4.008),(6.183,3.695),(6.335,3.374),(6.47,3.045),(6.589,2.709),(6.69,2.368),(6.773,2.023),(6.838,1.674),(6.886,1.321),(6.914,0.967),(6.925,0.611),(6.918,0.256),(6.892,-0.099),(6.849,-0.451),(6.787,-0.801),(6.708,-1.147),(6.611,-1.49),(6.495,-1.826),(6.364,-2.156),(6.216,-2.479),(6.05,-2.794),(5.87,-3.1),(5.672,-3.396),(6.082,-3.683),(6.293,-3.365),(6.488,-3.037),(6.664,-2.7),(6.824,-2.354),(6.965,-2),(7.088,-1.639),(7.192,-1.272),(7.277,-0.901),(7.344,-0.525),(7.39,-0.147),(7.418,0.233),(7.426,0.614),(7.414,0.995),(7.383,1.375),(7.332,1.752),(7.261,2.127),(7.173,2.498),(7.064,2.864),(6.938,3.223),(6.793,3.576),(6.63,3.92),(6.45,4.256),(6.253,4.582),(6.039,4.897),(5.809,5.202),(5.564,5.493),(5.305,5.772),(5.031,6.038),(4.744,6.289),(4.444,6.525),(4.133,6.745),(3.812,6.949),(3.48,7.136),(3.138,7.306),(2.789,7.458),(2.433,7.592),(2.069,7.707),(1.7,7.805),(1.327,7.883),(0.95,7.941),(0.572,7.98),(0.19,8),(-0.19,7.999),(-0.571,7.98),(-0.95,7.941),(-1.327,7.882),(-1.7,7.804),(-2.069,7.708),(-2.432,7.592),(-2.789,7.458),(-3.139,7.306),(-3.479,7.137),(-3.812,6.949),(-4.134,6.745),(-4.445,6.524),(-4.744,6.289),(-5.031,6.038),(-5.304,5.773),(-5.564,5.494),(-5.809,5.202),(-6.039,4.898),(-6.253,4.582),(-6.45,4.256),(-6.63,3.92),(-6.793,3.575),(-6.938,3.223),(-7.065,2.864),(-7.172,2.498),(-7.262,2.127),(-7.332,1.752),(-7.382,1.375),(-7.414,0.995),(-7.426,0.614),(-7.418,0.233),(-7.391,-0.147),(-7.343,-0.525),(-7.277,-0.9),(-7.192,-1.273),(-7.087,-1.639),(-6.965,-2),(-6.824,-2.354),(-6.664,-2.7),(-6.488,-3.038),(-6.293,-3.366),(-6.082,-3.683)])
R(ring_single_pn_gdsfactor, L43_0, [(5.527,-3.889,6.227,-3.189), (-2.664,-1.394,-1.964,-0.694)])
R(ring_single_pn_gdsfactor, L44_0, [(5.527,-3.889,6.227,-3.189), (-2.83,-2.283,-2.73,-2.183), (-2.63,-2.283,-2.53,-2.183), (2.53,-2.283,2.63,-2.183), (2.73,-2.283,2.83,-2.183), (-2.83,-2.083,-2.73,-1.983), (-2.63,-2.083,-2.53,-1.983), (2.53,-2.083,2.63,-1.983), (2.73,-2.083,2.83,-1.983), (-2.664,-1.394,-1.964,-0.694)])
R(ring_single_pn_gdsfactor, L45_0, [(4.377,-5.039,7.377,-2.039), (-3.814,-2.544,-0.814,0.456), (-2.93,-2.383,-2.43,-1.883), (2.43,-2.383,2.93,-1.883)])
R(ring_single_pn_gdsfactor, L49_0, [(4.377,-5.039,7.377,-2.039), (-3.814,-2.544,-0.814,0.456), (-2.93,-2.383,-2.43,-1.883), (2.43,-2.383,2.93,-1.883)])

lib.write_gds('ring_single_pn_gdsfactorypcomponentspringspring_pn_G0p3_8ebf82c2.gds')
